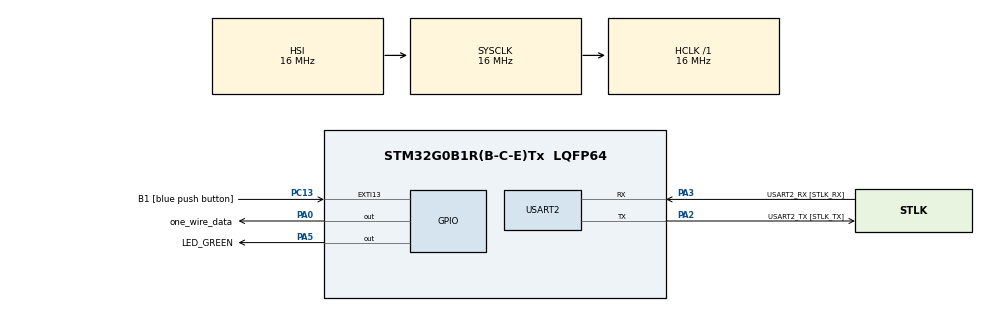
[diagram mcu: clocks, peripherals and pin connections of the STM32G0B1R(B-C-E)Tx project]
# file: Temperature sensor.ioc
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Mcu.Family=STM32G0
Mcu.Name=STM32G0B1R(B-C-E)Tx
Mcu.Package=LQFP64
PA0.GPIO_Label=one_wire_data
PA0.GPIO_ModeDefaultOutputPP=GPIO_MODE_OUTPUT_OD
PA0.GPIO_PuPd=GPIO_NOPULL
PA0.Signal=GPIO_Output
PA13.GPIO_Label=TMS
PA13.Mode=Serial_Wire
PA13.Signal=SYS_SWDIO
PA14-BOOT0.GPIO_Label=TCK
PA14-BOOT0.Mode=Serial_Wire
PA14-BOOT0.Signal=SYS_SWCLK
PA2.GPIO_Label=USART2_TX [STLK_TX]
PA2.Mode=Asynchronous
PA2.Signal=USART2_TX
PA3.GPIO_Label=USART2_RX [STLK_RX]
PA3.Mode=Asynchronous
PA3.Signal=USART2_RX
PA5.GPIO_Label=LED_GREEN
PA5.GPIO_Speed=GPIO_SPEED_FREQ_HIGH
PA5.Signal=GPIO_Output
PC13.GPIO_Label=B1 [blue push button]
PC13.Signal=GPXTI13
PC14-OSC32_IN\ (PC14).Mode=LSE-External-Oscillator
PC14-OSC32_IN\ (PC14).Signal=RCC_OSC32_IN
PC15-OSC32_OUT\ (PC15).Mode=LSE-External-Oscillator
PC15-OSC32_OUT\ (PC15).Signal=RCC_OSC32_OUT
PF0-OSC_IN\ (PF0).GPIO_Label=MCO
PF0-OSC_IN\ (PF0).Mode=HSE-External-Clock-Source
PF0-OSC_IN\ (PF0).Signal=RCC_OSC_IN
ProjectManager.HeapSize=0x200
ProjectManager.StackSize=0x400
ProjectManager.TargetToolchain=STM32CubeIDE
RCC.AHBFreq_Value=16000000
RCC.CortexFreq_Value=16000000
RCC.EXTERNAL_CLOCK_VALUE=12288000
RCC.HCLKFreq_Value=16000000
RCC.HSE_VALUE=8000000
RCC.HSI48_VALUE=48000000
RCC.HSI_VALUE=16000000
RCC.SYSCLKFreq_VALUE=16000000
RCC.USBFreq_Value=48000000
RCC.VCOOutputFreq_Value=128000000
TIM2.AutoReloadPreload=TIM_AUTORELOAD_PRELOAD_ENABLE
TIM2.Period=65535
TIM2.Prescaler=15
USART2.VirtualMode-Asynchronous=VM_ASYNC
VP_SYS_VS_DBSignals.Mode=DisableDeadBatterySignals
VP_TIM2_VS_ClockSourceINT.Mode=Internal
board=NUCLEO-G0B1RE

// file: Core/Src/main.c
/* USER CODE BEGIN Header */
/**
 * @file    main.c
 * @brief   DS18B20 temperature sensor test application for STM32G0.
 *
 * Initialises the DS18B20 1-Wire sensor, then continuously reads and
 * transmits temperature measurements over USART2 at 115200 baud.
 * TIM2 is used as a microsecond delay timer for 1-Wire timing.
 *
 * @copyright Copyright (c) 2026 STMicroelectronics. All rights reserved.
 *            Licensed under terms found in the LICENSE file in the root directory.
 */
/* USER CODE END Header */

#include "main.h"

/* USER CODE BEGIN Includes */
#include "ds18b20.h"
#include <stdio.h>
#include <string.h>
/* USER CODE END Includes */

TIM_HandleTypeDef htim2;

UART_HandleTypeDef huart2;

void SystemClock_Config(void);
static void MX_GPIO_Init(void);
static void MX_USART2_UART_Init(void);
static void MX_TIM2_Init(void);

/**
 * @brief  Application entry point.
 * @retval int  Never returns.
 */
int main(void)
{

  /* MCU Configuration--------------------------------------------------------*/

  /* Reset of all peripherals, Initializes the Flash interface and the Systick. */
  HAL_Init();

  /* Configure the system clock */
  SystemClock_Config();

  /* Initialize all configured peripherals */
  MX_GPIO_Init();
  MX_USART2_UART_Init();
  MX_TIM2_Init();
  /* USER CODE BEGIN 2 */

  /* Start TIM2 for accurate microsecond delays used by the 1-Wire driver */
  HAL_TIM_Base_Start(&htim2);

  if (DS18B20_Init())
  {
      char msg[] = "DS18B20 detected! Starting measurements...\r\n";
      HAL_UART_Transmit(&huart2, (uint8_t*)msg, strlen(msg), HAL_MAX_DELAY);

      while (1)
      {
          DS18B20_StartConversion();
          HAL_Delay(750);  /* Wait for 12-bit conversion to complete (max 750 ms) */

          float temp = DS18B20_ReadTemperature();
          int temp_int = (int)temp;
          int temp_dec = (int)((temp - temp_int) * 100);  /* 2 decimal places */
          if (temp_dec < 0) temp_dec = -temp_dec;  /* Handle negative temperatures */

          char buffer[64];
          sprintf(buffer, "Temperature: %d.%02d C\r\n", temp_int, temp_dec);
          HAL_UART_Transmit(&huart2, (uint8_t*)buffer, strlen(buffer), HAL_MAX_DELAY);

          HAL_GPIO_TogglePin(LED_GREEN_GPIO_Port, LED_GREEN_Pin);
          HAL_Delay(1000);
      }
  }
  else
  {
      /* Sensor not detected — blink LED and report error indefinitely */
      while(1)
      {
          char error_msg[] = "ERROR: DS18B20 not detected!\r\n";
          HAL_UART_Transmit(&huart2, (uint8_t*)error_msg, strlen(error_msg), HAL_MAX_DELAY);

          HAL_GPIO_TogglePin(LED_GREEN_GPIO_Port, LED_GREEN_Pin);
          HAL_Delay(1000);
      }
  }

  /* USER CODE END 2 */

  /* Infinite loop */
  while (1)
  {

  }
}

/**
 * @brief  Configure system clocks.
 *
 * Source: HSI @ 16 MHz, no PLL. SYSCLK / HCLK / PCLK1 all at 16 MHz,
 * flash latency 0.
 *
 * @retval None
 */
void SystemClock_Config(void)
{
  RCC_OscInitTypeDef RCC_OscInitStruct = {0};
  RCC_ClkInitTypeDef RCC_ClkInitStruct = {0};

  /** Configure the main internal regulator output voltage
  */
  HAL_PWREx_ControlVoltageScaling(PWR_REGULATOR_VOLTAGE_SCALE1);

  /** Initializes the RCC Oscillators according to the specified parameters
  * in the RCC_OscInitTypeDef structure.
  */
  RCC_OscInitStruct.OscillatorType = RCC_OSCILLATORTYPE_HSI;
  RCC_OscInitStruct.HSIState = RCC_HSI_ON;
  RCC_OscInitStruct.HSIDiv = RCC_HSI_DIV1;
  RCC_OscInitStruct.HSICalibrationValue = RCC_HSICALIBRATION_DEFAULT;
  RCC_OscInitStruct.PLL.PLLState = RCC_PLL_NONE;
  if (HAL_RCC_OscConfig(&RCC_OscInitStruct) != HAL_OK)
  {
    Error_Handler();
  }

  /** Initializes the CPU, AHB and APB buses clocks
  */
  RCC_ClkInitStruct.ClockType = RCC_CLOCKTYPE_HCLK|RCC_CLOCKTYPE_SYSCLK
                              |RCC_CLOCKTYPE_PCLK1;
  RCC_ClkInitStruct.SYSCLKSource = RCC_SYSCLKSOURCE_HSI;
  RCC_ClkInitStruct.AHBCLKDivider = RCC_SYSCLK_DIV1;
  RCC_ClkInitStruct.APB1CLKDivider = RCC_HCLK_DIV1;

  if (HAL_RCC_ClockConfig(&RCC_ClkInitStruct, FLASH_LATENCY_0) != HAL_OK)
  {
    Error_Handler();
  }
}

/**
 * @brief  Initialise TIM2 as a free-running microsecond counter.
 *
 * Prescaler of 15 on a 16 MHz HSI clock gives a 1 MHz tick (1 µs resolution).
 * Period set to 65535 (max 16-bit). Used exclusively by the DS18B20 1-Wire driver.
 *
 * @retval None
 */
static void MX_TIM2_Init(void)
{

  TIM_ClockConfigTypeDef sClockSourceConfig = {0};
  TIM_MasterConfigTypeDef sMasterConfig = {0};

  htim2.Instance = TIM2;
  htim2.Init.Prescaler = 15;
  htim2.Init.CounterMode = TIM_COUNTERMODE_UP;
  htim2.Init.Period = 65535;
  htim2.Init.ClockDivision = TIM_CLOCKDIVISION_DIV1;
  htim2.Init.AutoReloadPreload = TIM_AUTORELOAD_PRELOAD_ENABLE;
  if (HAL_TIM_Base_Init(&htim2) != HAL_OK)
  {
    Error_Handler();
  }
  sClockSourceConfig.ClockSource = TIM_CLOCKSOURCE_INTERNAL;
  if (HAL_TIM_ConfigClockSource(&htim2, &sClockSourceConfig) != HAL_OK)
  {
    Error_Handler();
  }
  sMasterConfig.MasterOutputTrigger = TIM_TRGO_RESET;
  sMasterConfig.MasterSlaveMode = TIM_MASTERSLAVEMODE_DISABLE;
  if (HAL_TIMEx_MasterConfigSynchronization(&htim2, &sMasterConfig) != HAL_OK)
  {
    Error_Handler();
  }

}

/**
 * @brief  Initialise USART2 — 115200 8N1, no hardware flow control, FIFO off.
 * @retval None
 */
static void MX_USART2_UART_Init(void)
{

  huart2.Instance = USART2;
  huart2.Init.BaudRate = 115200;
  huart2.Init.WordLength = UART_WORDLENGTH_8B;
  huart2.Init.StopBits = UART_STOPBITS_1;
  huart2.Init.Parity = UART_PARITY_NONE;
  huart2.Init.Mode = UART_MODE_TX_RX;
  huart2.Init.HwFlowCtl = UART_HWCONTROL_NONE;
  huart2.Init.OverSampling = UART_OVERSAMPLING_16;
  huart2.Init.OneBitSampling = UART_ONE_BIT_SAMPLE_DISABLE;
  huart2.Init.ClockPrescaler = UART_PRESCALER_DIV1;
  huart2.AdvancedInit.AdvFeatureInit = UART_ADVFEATURE_NO_INIT;
  if (HAL_UART_Init(&huart2) != HAL_OK)
  {
    Error_Handler();
  }
  if (HAL_UARTEx_SetTxFifoThreshold(&huart2, UART_TXFIFO_THRESHOLD_1_8) != HAL_OK)
  {
    Error_Handler();
  }
  if (HAL_UARTEx_SetRxFifoThreshold(&huart2, UART_RXFIFO_THRESHOLD_1_8) != HAL_OK)
  {
    Error_Handler();
  }
  if (HAL_UARTEx_DisableFifoMode(&huart2) != HAL_OK)
  {
    Error_Handler();
  }

}

/**
 * @brief  Initialise GPIO pins.
 *
 * - B1           (PC13): input, rising-edge interrupt, no pull.
 * - one_wire_data (PA): open-drain output, low speed (1-Wire bus).
 * - LED_GREEN    (PA5): push-pull output, high speed, initialised low.
 *
 * @retval None
 */
static void MX_GPIO_Init(void)
{
  GPIO_InitTypeDef GPIO_InitStruct = {0};

  /* GPIO Ports Clock Enable */
  __HAL_RCC_GPIOC_CLK_ENABLE();
  __HAL_RCC_GPIOF_CLK_ENABLE();
  __HAL_RCC_GPIOA_CLK_ENABLE();

  /*Configure GPIO pin Output Level */
  HAL_GPIO_WritePin(GPIOA, one_wire_data_Pin|LED_GREEN_Pin, GPIO_PIN_RESET);

  /*Configure GPIO pin : B1_Pin */
  GPIO_InitStruct.Pin = B1_Pin;
  GPIO_InitStruct.Mode = GPIO_MODE_IT_RISING;
  GPIO_InitStruct.Pull = GPIO_NOPULL;
  HAL_GPIO_Init(B1_GPIO_Port, &GPIO_InitStruct);

  /*Configure GPIO pin : one_wire_data_Pin */
  GPIO_InitStruct.Pin = one_wire_data_Pin;
  GPIO_InitStruct.Mode = GPIO_MODE_OUTPUT_OD;
  GPIO_InitStruct.Pull = GPIO_NOPULL;
  GPIO_InitStruct.Speed = GPIO_SPEED_FREQ_LOW;
  HAL_GPIO_Init(one_wire_data_GPIO_Port, &GPIO_InitStruct);

  /*Configure GPIO pin : LED_GREEN_Pin */
  GPIO_InitStruct.Pin = LED_GREEN_Pin;
  GPIO_InitStruct.Mode = GPIO_MODE_OUTPUT_PP;
  GPIO_InitStruct.Pull = GPIO_NOPULL;
  GPIO_InitStruct.Speed = GPIO_SPEED_FREQ_HIGH;
  HAL_GPIO_Init(LED_GREEN_GPIO_Port, &GPIO_InitStruct);

}

/**
 * @brief  Fatal error handler — disables interrupts and halts.
 *
 * Called by HAL on any peripheral initialisation failure. Extend this
 * function to add LED blink patterns or UART fault reporting if needed.
 *
 * @retval None
 */
void Error_Handler(void)
{
  __disable_irq();
  while (1)
  {
  }
}

#ifdef  USE_FULL_ASSERT
/**
 * @brief  assert_param failure callback.
 * @param  file  Source file where the assertion failed.
 * @param  line  Line number of the failed assertion.
 * @retval None
 */
void assert_failed(uint8_t *file, uint32_t line)
{
  /* USER CODE BEGIN 6 */
  /* User can add their own implementation to report the file name and line number,
     e.g.: printf("Wrong parameters value: file %s on line %d\r\n", file, line) */
  /* USER CODE END 6 */
}
#endif /* USE_FULL_ASSERT */
